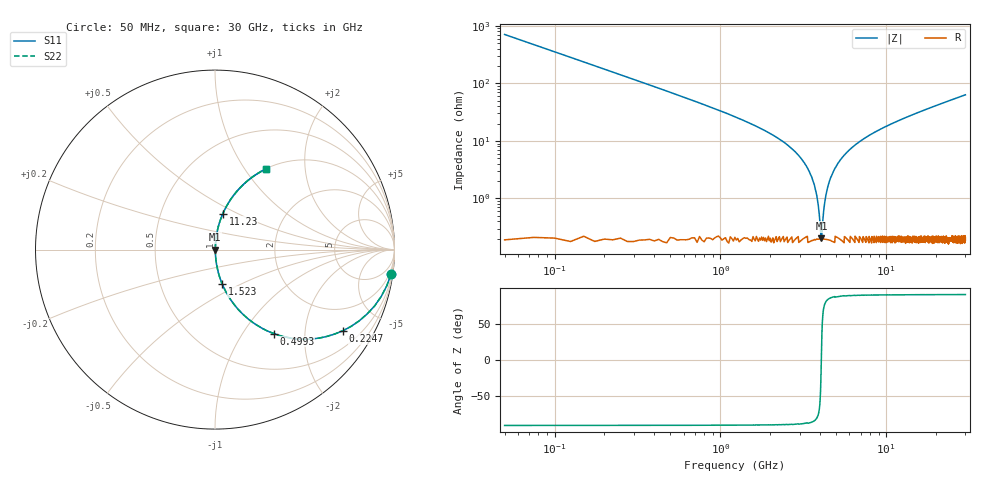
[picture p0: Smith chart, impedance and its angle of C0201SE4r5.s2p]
# MHZ S MA R 50
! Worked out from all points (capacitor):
!   1201 points, 50 MHz to 30 GHz, reference 50 ohm
!   read as one part in series: C = 4.5 pF near 199.8 MHz
!   lowest |Z| = 202 mohm at 4.068 GHz (marker M1)
!   series resonance near 4.059 GHz, so ESL is about 340 pH
!   S11 on the Smith chart (normalised r, x): 50 MHz: 1, -14; 224.7 MHz: 1.00, -3.14; 499.2 MHz: 1.00, -1.39; 1.523 GHz: 1.00, -0.40; 11.23 GHz: 1.00, +0.42; 30 GHz: 1.00, +1.27
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50  0.99 -8.0  0.14 81.9  0.14 81.9  0.99 -8.0
224.708  0.843 -32.5  0.537 57.4  0.537 57.4  0.843 -32.5
499.25  0.571 -55.0  0.819 34.9  0.819 34.9  0.571 -55.0
873.625  0.36 -68.6  0.931 21.1  0.931 21.1  0.36 -68.6
1522.542  0.195 -78.2  0.979 11.3  0.979 11.3  0.195 -78.2
2670.625  0.075 -84.2  0.995 4.3  0.995 4.3  0.075 -84.2
3294.583  0.037 -84.9  0.997 2.1  0.997 2.1  0.037 -84.9
3668.958  0.018 -82.7  0.998 1.0  0.998 1.0  0.018 -82.7
3793.75  0.012 -79.9  0.998 0.7  0.998 0.7  0.012 -79.9
3968.458  0.00437 -63.3  0.998 0.2  0.998 0.2  0.00437 -63.3
4068.292  0.001989 11.8  0.998 -0.0  0.998 -0.0  0.001989 11.8
4168.125  0.005019 66.9  0.998 -0.3  0.998 -0.3  0.005019 66.9
4317.875  0.011 79.1  0.998 -0.6  0.998 -0.6  0.011 79.1
4492.583  0.018 82.7  0.998 -1.0  0.998 -1.0  0.018 82.7
5041.667  0.038 84.9  0.997 -2.2  0.997 -2.2  0.038 84.9
6838.667  0.095 83.4  0.994 -5.4  0.994 -5.4  0.095 83.4
10058.29  0.178 79.2  0.982 -10.2  0.982 -10.2  0.178 79.2
11231.33  0.205 77.6  0.977 -11.8  0.977 -11.8  0.205 77.6
15025  0.286 73.0  0.956 -16.6  0.956 -16.6  0.286 73.0
20016.67  0.38 67.4  0.923 -22.4  0.923 -22.4  0.38 67.4
25033.29  0.463 62.2  0.885 -27.6  0.885 -27.6  0.463 62.2
30000  0.534 57.6  0.844 -32.3  0.844 -32.3  0.534 57.6
